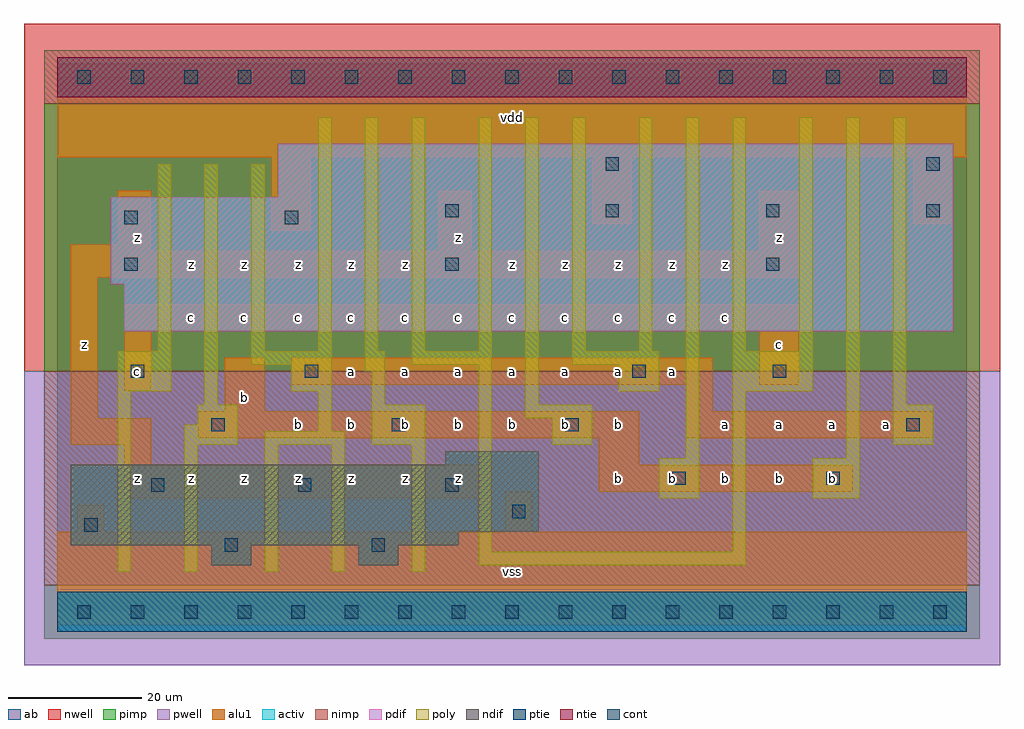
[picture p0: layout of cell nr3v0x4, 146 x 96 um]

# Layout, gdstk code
import gdstk
lib = gdstk.Library(unit=1e-6, precision=1e-09)
def R(c, l, rs):  # rectangles x0, y0, x1, y1
    for r in rs: c.add(gdstk.rectangle(r[:2], r[2:], *l))
def A(c, l, x, y, w, h, nx, ny, dx, dy):  # array of equal rectangles
    R(c, l, [(x+i*dx, y+j*dy, x+i*dx+w, y+j*dy+h) for i in range(nx) for j in range(ny)])
ndif = (3, 0)
pdif = (4, 0)
ntie = (5, 0)
ptie = (6, 0)
cont = (25, 0)
pwell = (41, 0)
nwell = (42, 0)
activ = (43, 0)
pimp = (44, 0)
nimp = (45, 0)
poly = (46, 0)
alu1 = (49, 0)
ab = (63, 0)

nr3v0x4 = lib.new_cell('nr3v0x4')
R(nr3v0x4, ndif, [(23,7,29,10), (45,7,51,10), (2,10,60,12), (2,12,72,22), (58,22,72,24)])
R(nr3v0x4, pdif, [(10,42,134,49), (8,49,134,62), (33,62,134,70)])
R(nr3v0x4, ntie, [(0,77,136,83)])
R(nr3v0x4, ptie, [(0,-3,136,3)])
A(nr3v0x4, cont, 3, -1, 2, 2, 17, 2, 8, 80)
A(nr3v0x4, cont, 14, 18, 2, 2, 3, 1, 22, 0)
A(nr3v0x4, cont, 10, 51, 2, 2, 3, 1, 48, 0)
A(nr3v0x4, cont, 58, 59, 2, 2, 4, 1, 24, 0)
R(nr3v0x4, cont, [(25,9,27,11), (47,9,49,11), (4,12,6,14), (68,14,70,16), (92,19,94,21), (115,19,117,21), (23,27,25,29), (50,27,52,29), (76,27,78,29), (127,27,129,29), (11,35,13,37), (37,35,39,37), (86,35,88,37), (107,35,109,37), (10,58,12,60), (34,58,36,60), (82,66,84,68), (130,66,132,68)])
R(nr3v0x4, pwell, [(-5,-8,141,36)])
R(nr3v0x4, nwell, [(-5,36,141,88)])
R(nr3v0x4, activ, [(0,-3,136,3), (23,7,29,10), (45,7,51,10), (2,10,60,12), (2,12,72,22), (58,22,72,24), (10,42,134,49), (8,49,134,62), (33,62,134,70), (0,77,136,83)])
R(nr3v0x4, pimp, [(-2,-4,138,4), (-2,36,138,76)])
R(nr3v0x4, nimp, [(-2,4,138,36), (-2,76,138,84)])
A(nr3v0x4, poly, 39, 39, 2, 35, 3, 1, 7, 0)
R(nr3v0x4, poly, [(9,6,11,33), (19,6,21,25), (31,6,33,25), (41,6,43,25), (53,6,55,25), (63,7,103,9), (63,9,65,37), (101,9,103,33), (90,17,96,23), (113,17,120,23), (94,23,96,74), (118,23,120,74), (19,25,27,28), (31,25,43,27), (47,25,55,31), (74,25,80,29), (125,25,131,31), (39,27,41,33), (21,28,27,31), (70,29,80,31), (22,31,24,67), (47,31,49,36), (70,31,72,74), (125,31,127,74), (9,33,17,39), (35,33,41,37), (84,33,90,37), (101,33,113,39), (46,36,49,39), (29,37,41,39), (53,37,65,39), (77,37,90,39), (15,39,17,67), (29,39,31,67), (63,39,65,74), (77,39,79,74), (87,39,89,74), (101,39,103,74), (111,39,113,74)])
R(nr3v0x4, alu1, [(0,-2,136,12), (3,12,7,16), (67,12,71,18), (10,17,63,22), (81,18,119,22), (10,22,14,25), (81,22,87,26), (2,25,14,29), (21,26,87,30), (94,26,131,30), (2,29,6,50), (25,30,31,38), (94,30,98,34), (10,33,14,42), (35,34,98,38), (105,34,111,42), (10,42,111,46), (2,50,111,54), (2,54,14,55), (57,54,62,63), (105,54,111,63), (9,55,14,63), (32,57,38,68), (80,58,86,68), (128,58,134,68), (0,68,136,82)])
R(nr3v0x4, ab, [(0,0,136,80)])
nr3v0x4.add(gdstk.Label('z', (20,20), layer=49, texttype=0))
nr3v0x4.add(gdstk.Label('z', (12,20), layer=49, texttype=0))
nr3v0x4.add(gdstk.Label('c', (20,44), layer=49, texttype=0))
nr3v0x4.add(gdstk.Label('z', (4,40), layer=49, texttype=0))
nr3v0x4.add(gdstk.Label('c', (12,36), layer=49, texttype=0))
nr3v0x4.add(gdstk.Label('z', (20,52), layer=49, texttype=0))
nr3v0x4.add(gdstk.Label('z', (12,56), layer=49, texttype=0))
nr3v0x4.add(gdstk.Label('z', (28,20), layer=49, texttype=0))
nr3v0x4.add(gdstk.Label('b', (44,28), layer=49, texttype=0))
nr3v0x4.add(gdstk.Label('z', (44,20), layer=49, texttype=0))
nr3v0x4.add(gdstk.Label('b', (36,28), layer=49, texttype=0))
nr3v0x4.add(gdstk.Label('z', (36,20), layer=49, texttype=0))
nr3v0x4.add(gdstk.Label('b', (28,32), layer=49, texttype=0))
nr3v0x4.add(gdstk.Label('c', (28,44), layer=49, texttype=0))
nr3v0x4.add(gdstk.Label('c', (44,44), layer=49, texttype=0))
nr3v0x4.add(gdstk.Label('a', (44,36), layer=49, texttype=0))
nr3v0x4.add(gdstk.Label('c', (36,44), layer=49, texttype=0))
nr3v0x4.add(gdstk.Label('z', (36,52), layer=49, texttype=0))
nr3v0x4.add(gdstk.Label('z', (44,52), layer=49, texttype=0))
nr3v0x4.add(gdstk.Label('z', (28,52), layer=49, texttype=0))
nr3v0x4.add(gdstk.Label('vss', (68,6), layer=49, texttype=0))
nr3v0x4.add(gdstk.Label('z', (52,20), layer=49, texttype=0))
nr3v0x4.add(gdstk.Label('b', (52,28), layer=49, texttype=0))
nr3v0x4.add(gdstk.Label('b', (68,28), layer=49, texttype=0))
nr3v0x4.add(gdstk.Label('b', (76,28), layer=49, texttype=0))
nr3v0x4.add(gdstk.Label('b', (60,28), layer=49, texttype=0))
nr3v0x4.add(gdstk.Label('z', (60,20), layer=49, texttype=0))
nr3v0x4.add(gdstk.Label('a', (52,36), layer=49, texttype=0))
nr3v0x4.add(gdstk.Label('c', (52,44), layer=49, texttype=0))
nr3v0x4.add(gdstk.Label('c', (68,44), layer=49, texttype=0))
nr3v0x4.add(gdstk.Label('c', (76,44), layer=49, texttype=0))
nr3v0x4.add(gdstk.Label('a', (76,36), layer=49, texttype=0))
nr3v0x4.add(gdstk.Label('a', (68,36), layer=49, texttype=0))
nr3v0x4.add(gdstk.Label('c', (60,44), layer=49, texttype=0))
nr3v0x4.add(gdstk.Label('a', (60,36), layer=49, texttype=0))
nr3v0x4.add(gdstk.Label('z', (68,52), layer=49, texttype=0))
nr3v0x4.add(gdstk.Label('z', (76,52), layer=49, texttype=0))
nr3v0x4.add(gdstk.Label('z', (52,52), layer=49, texttype=0))
nr3v0x4.add(gdstk.Label('z', (60,56), layer=49, texttype=0))
nr3v0x4.add(gdstk.Label('vdd', (68,74), layer=49, texttype=0))
nr3v0x4.add(gdstk.Label('b', (84,20), layer=49, texttype=0))
nr3v0x4.add(gdstk.Label('b', (84,28), layer=49, texttype=0))
nr3v0x4.add(gdstk.Label('a', (108,28), layer=49, texttype=0))
nr3v0x4.add(gdstk.Label('a', (100,28), layer=49, texttype=0))
nr3v0x4.add(gdstk.Label('b', (100,20), layer=49, texttype=0))
nr3v0x4.add(gdstk.Label('b', (108,20), layer=49, texttype=0))
nr3v0x4.add(gdstk.Label('b', (92,20), layer=49, texttype=0))
nr3v0x4.add(gdstk.Label('a', (84,36), layer=49, texttype=0))
nr3v0x4.add(gdstk.Label('c', (84,44), layer=49, texttype=0))
nr3v0x4.add(gdstk.Label('c', (92,44), layer=49, texttype=0))
nr3v0x4.add(gdstk.Label('c', (108,40), layer=49, texttype=0))
nr3v0x4.add(gdstk.Label('c', (100,44), layer=49, texttype=0))
nr3v0x4.add(gdstk.Label('a', (92,36), layer=49, texttype=0))
nr3v0x4.add(gdstk.Label('z', (92,52), layer=49, texttype=0))
nr3v0x4.add(gdstk.Label('z', (100,52), layer=49, texttype=0))
nr3v0x4.add(gdstk.Label('z', (84,52), layer=49, texttype=0))
nr3v0x4.add(gdstk.Label('z', (108,56), layer=49, texttype=0))
nr3v0x4.add(gdstk.Label('a', (116,28), layer=49, texttype=0))
nr3v0x4.add(gdstk.Label('a', (124,28), layer=49, texttype=0))
nr3v0x4.add(gdstk.Label('b', (116,20), layer=49, texttype=0))

lib.write_gds('nr3v0x4.gds')
